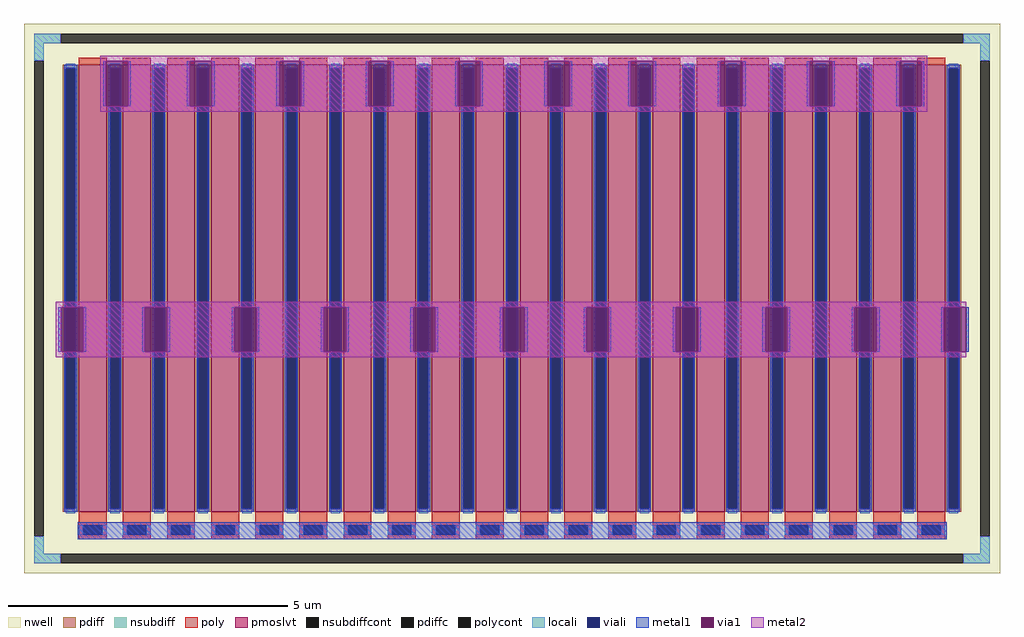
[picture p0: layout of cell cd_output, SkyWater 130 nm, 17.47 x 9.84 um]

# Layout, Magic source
magic
tech sky130A
magscale 1 2
<< metal1 >>
rect 230 1620 240 1780
rect 320 1620 330 1780
rect 530 1620 540 1780
rect 620 1620 630 1780
rect 850 1620 860 1780
rect 940 1620 950 1780
rect 1170 1620 1180 1780
rect 1260 1620 1270 1780
rect 1490 1620 1500 1780
rect 1580 1620 1590 1780
rect 1810 1620 1820 1780
rect 1900 1620 1910 1780
rect 2110 1620 2120 1780
rect 2200 1620 2210 1780
rect 2430 1620 2440 1780
rect 2520 1620 2530 1780
rect 2750 1620 2760 1780
rect 2840 1620 2850 1780
rect 3070 1620 3080 1780
rect 3160 1620 3170 1780
rect 70 740 80 900
rect 160 740 170 900
rect 370 740 380 900
rect 460 740 470 900
rect 690 740 700 900
rect 780 740 790 900
rect 1010 740 1020 900
rect 1100 740 1110 900
rect 1330 740 1340 900
rect 1420 740 1430 900
rect 1650 740 1660 900
rect 1740 740 1750 900
rect 1950 740 1960 900
rect 2040 740 2050 900
rect 2270 740 2280 900
rect 2360 740 2370 900
rect 2590 740 2600 900
rect 2680 740 2690 900
rect 2910 740 2920 900
rect 3000 740 3010 900
rect 3230 740 3240 900
rect 3320 740 3330 900
rect 140 70 3250 130
<< via1 >>
rect 240 1620 320 1780
rect 540 1620 620 1780
rect 860 1620 940 1780
rect 1180 1620 1260 1780
rect 1500 1620 1580 1780
rect 1820 1620 1900 1780
rect 2120 1620 2200 1780
rect 2440 1620 2520 1780
rect 2760 1620 2840 1780
rect 3080 1620 3160 1780
rect 80 740 160 900
rect 380 740 460 900
rect 700 740 780 900
rect 1020 740 1100 900
rect 1340 740 1420 900
rect 1660 740 1740 900
rect 1960 740 2040 900
rect 2280 740 2360 900
rect 2600 740 2680 900
rect 2920 740 3000 900
rect 3240 740 3320 900
<< metal2 >>
rect 220 1780 3180 1800
rect 220 1620 240 1780
rect 320 1620 540 1780
rect 620 1620 860 1780
rect 940 1620 1180 1780
rect 1260 1620 1500 1780
rect 1580 1620 1820 1780
rect 1900 1620 2120 1780
rect 2200 1620 2440 1780
rect 2520 1620 2760 1780
rect 2840 1620 3080 1780
rect 3160 1620 3180 1780
rect 220 1600 3180 1620
rect 60 900 3320 920
rect 60 740 80 900
rect 160 740 380 900
rect 460 740 700 900
rect 780 740 1020 900
rect 1100 740 1340 900
rect 1420 740 1660 900
rect 1740 740 1960 900
rect 2040 740 2280 900
rect 2360 740 2600 900
rect 2680 740 2920 900
rect 3000 740 3240 900
rect 60 720 3320 740
use sky130_fd_pr__pfet_01v8_lvt_BKT746  sky130_fd_pr__pfet_01v8_lvt_BKT746_0
transform 1 0 1694 0 1 931
box -1747 -984 1747 984
<< end >>

# cell sky130_fd_pr__pfet_01v8_lvt_BKT746: kit device sky130_fd_pr__pfet_01v8_lvt, w 8 l 0.5 m 1 nf 20 diffcov 100 polycov 100 guard 1 glc 1 grc 1 gtc 1 gbc 1 tbcov 100 rlcov 100 topc 0 botc 1 poverlap 0 doverlap 1 lmin 0.35 wmin 0.42 compatible {sky130_fd_pr__pfet_01v8 sky130_fd_pr__pfet_01v8_lvt sky130_fd_pr__pfet_01v8_hvt sky130_fd_pr__pfet_g5v0d10v5} full_metal 1 viasrc 100 viadrn 100 viagate 100 viagb 0 viagr 0 viagl 0 viagt 0
